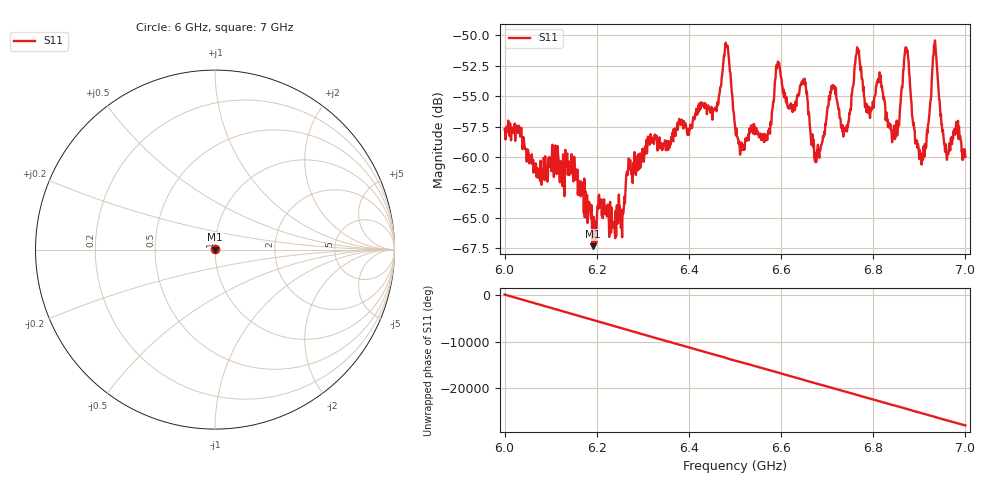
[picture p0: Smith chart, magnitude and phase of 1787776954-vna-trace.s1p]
! Created with skrf 1.10.0 (http://scikit-rf.org).
# Hz S RI R 50.0
!freq ReS11 ImS11
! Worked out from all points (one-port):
!   1001 points, 6 GHz to 7 GHz, reference 50 ohm
!   lowest |S11| = -67.3 dB at 6.192 GHz (marker M1), VSWR 1.00, Z = 50 + j0.0429 ohm
!   |S11| at or under -10 dB: start of sweep to end of sweep
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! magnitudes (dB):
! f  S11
! 6 GHz  -57.7
! 6.125 GHz  -61.7
! 6.15 GHz  -60.4
! 6.192 GHz  -67.3
! 6.25 GHz  -64.0
! 6.269 GHz  -60.1
! 6.375 GHz  -57.2
! 6.456 GHz  -56.1
! 6.481 GHz  -50.9
! 6.5 GHz  -57.4
! 6.568 GHz  -58.4
! 6.594 GHz  -52.2
! 6.625 GHz  -56.3
! 6.65 GHz  -54.0
! 6.678 GHz  -59.4
! 6.712 GHz  -54.2
! 6.735 GHz  -58.3
! 6.75 GHz  -56.1
! 6.766 GHz  -51.2
! 6.787 GHz  -56.1
! 6.814 GHz  -53.0
! 6.845 GHz  -57.4
! 6.875 GHz  -51.5
! 6.903 GHz  -60.1
! 6.916 GHz  -58.2
! 6.934 GHz  -50.4
! 6.958 GHz  -59.5
! 7 GHz  -60.0
